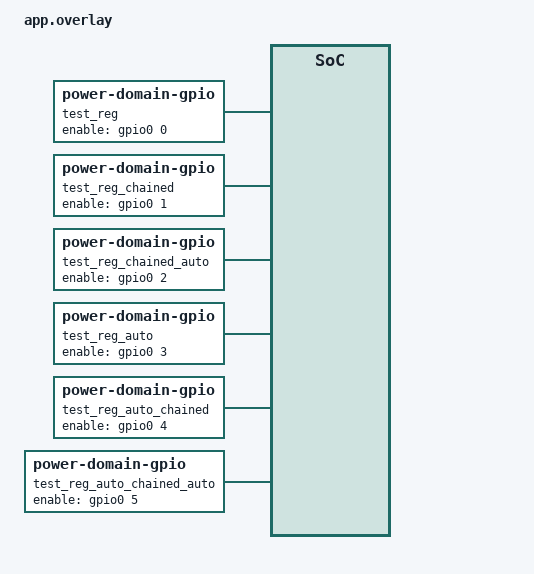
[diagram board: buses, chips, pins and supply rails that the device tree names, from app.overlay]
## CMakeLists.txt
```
# Copyright (c) 2023, CSIRO.
# SPDX-License-Identifier: Apache-2.0

cmake_minimum_required(VERSION 3.28.0)
find_package(Zephyr REQUIRED HINTS $ENV{ZEPHYR_BASE})
project(device_driver_init)

target_sources(app PRIVATE src/main.c)
```

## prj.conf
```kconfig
# Copyright (c) 2023, Commonwealth Scientific and Industrial Research
# Organisation (CSIRO) ABN 41 687 119 230.
CONFIG_ZTEST=y
CONFIG_MP_MAX_NUM_CPUS=1

CONFIG_GPIO=y
CONFIG_GPIO_GET_CONFIG=y
CONFIG_POWER_DOMAIN=y
CONFIG_DEVICE_DEINIT_SUPPORT=y
```

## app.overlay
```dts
/ {
	test_reg: test_reg {
		compatible = "power-domain-gpio";
		enable-gpios = <&gpio0 0 0>;
		#power-domain-cells = <0>;
	};

	test_reg_chained: test_reg_chained {
		compatible = "power-domain-gpio";
		enable-gpios = <&gpio0 1 0>;
		power-domains = <&test_reg>;
		#power-domain-cells = <0>;
	};

	test_reg_chained_auto: test_reg_chained_auto {
		compatible = "power-domain-gpio";
		enable-gpios = <&gpio0 2 0>;
		power-domains = <&test_reg>;
		#power-domain-cells = <0>;
		zephyr,pm-device-runtime-auto;
	};

	test_reg_auto: test_reg_auto {
		compatible = "power-domain-gpio";
		enable-gpios = <&gpio0 3 0>;
		#power-domain-cells = <0>;
		zephyr,pm-device-runtime-auto;
	};

	test_reg_auto_chained: test_reg_auto_chained {
		compatible = "power-domain-gpio";
		enable-gpios = <&gpio0 4 0>;
		#power-domain-cells = <0>;
		power-domains = <&test_reg_auto>;
	};

	test_reg_auto_chained_auto: test_reg_auto_chained_auto {
		compatible = "power-domain-gpio";
		enable-gpios = <&gpio0 5 0>;
		power-domains = <&test_reg_auto>;
		#power-domain-cells = <0>;
		zephyr,pm-device-runtime-auto;
	};

	test_reg_disabled: test_reg_disabled {
		compatible = "power-domain-gpio";
		enable-gpios = <&gpio0 6 0>;
		#power-domain-cells = <0>;
		status = "disabled";
	};
};
```

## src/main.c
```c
/*
 * Copyright (c) 2023, Commonwealth Scientific and Industrial Research
 * Organisation (CSIRO) ABN 41 687 119 230.
 *
 * SPDX-License-Identifier: Apache-2.0
 *
 * State checking in this test is done via the GPIO state instead of
 * the PM API as this test runs without the PM api enabled.
 */

#include <zephyr/ztest.h>
#include <zephyr/drivers/gpio.h>
#include <zephyr/pm/device.h>
#include <zephyr/pm/device_runtime.h>

#define POWER_GPIO_CONFIG_IS(node_id, config)\
	{\
		const struct gpio_dt_spec gpio = GPIO_DT_SPEC_GET(node_id, enable_gpios);\
		gpio_flags_t gpio_config; \
		int gpio_ret = gpio_pin_get_config_dt(&gpio, &gpio_config); \
		zassert_equal(gpio_ret, 0, "GPIO config retrieval failed"); \
		zassert_equal(gpio_config, config, "Unexpected config");\
	}

#define DEVICE_STATE_IS(node_id, value) \
	rc = pm_device_state_get(DEVICE_DT_GET(node_id), &state); \
	zassert_equal(rc, 0, "Device state retrieval failed"); \
	zassert_equal(state, value, "Unexpected device state");

ZTEST(device_driver_init, test_device_driver_init)
{
#if defined(CONFIG_PM_DEVICE_RUNTIME)
	enum pm_device_state state;
	int rc;
	state = -1;
	zassert_str_equal("", pm_device_state_str(state),
			  "Invalid device state");
	/* No device runtime PM, starts on */
	DEVICE_STATE_IS(DT_NODELABEL(test_reg), PM_DEVICE_STATE_ACTIVE);
	DEVICE_STATE_IS(DT_NODELABEL(test_reg_chained), PM_DEVICE_STATE_ACTIVE);
	POWER_GPIO_CONFIG_IS(DT_NODELABEL(test_reg), GPIO_OUTPUT_HIGH);
	POWER_GPIO_CONFIG_IS(DT_NODELABEL(test_reg_chained), GPIO_OUTPUT_HIGH);
	zassert_str_equal("active", pm_device_state_str(state),
			  "Invalid device state");
	/* Device powered, zephyr,pm-device-runtime-auto, starts suspended */
	DEVICE_STATE_IS(DT_NODELABEL(test_reg_chained_auto), PM_DEVICE_STATE_SUSPENDED);
	DEVICE_STATE_IS(DT_NODELABEL(test_reg_auto), PM_DEVICE_STATE_SUSPENDED);
	POWER_GPIO_CONFIG_IS(DT_NODELABEL(test_reg_chained_auto), GPIO_OUTPUT_LOW);
	POWER_GPIO_CONFIG_IS(DT_NODELABEL(test_reg_auto), GPIO_OUTPUT_LOW);
	zassert_str_equal("suspended", pm_device_state_str(state),
			  "Invalid device state");
	/* Device not powered, starts off */
	DEVICE_STATE_IS(DT_NODELABEL(test_reg_auto_chained), PM_DEVICE_STATE_OFF);
	DEVICE_STATE_IS(DT_NODELABEL(test_reg_auto_chained_auto), PM_DEVICE_STATE_OFF);
	POWER_GPIO_CONFIG_IS(DT_NODELABEL(test_reg_auto_chained), GPIO_DISCONNECTED);
	POWER_GPIO_CONFIG_IS(DT_NODELABEL(test_reg_auto_chained_auto), GPIO_DISCONNECTED);
	zassert_str_equal("off", pm_device_state_str(state),
			  "Invalid device state");
#else
	/* Every regulator should be in "active" mode automatically.
	 * State checking via GPIO as PM API is disabled.
	 */
	POWER_GPIO_CONFIG_IS(DT_NODELABEL(test_reg), GPIO_OUTPUT_HIGH);
	POWER_GPIO_CONFIG_IS(DT_NODELABEL(test_reg_chained), GPIO_OUTPUT_HIGH);
	POWER_GPIO_CONFIG_IS(DT_NODELABEL(test_reg_chained_auto), GPIO_OUTPUT_HIGH);
	POWER_GPIO_CONFIG_IS(DT_NODELABEL(test_reg_auto), GPIO_OUTPUT_HIGH);
	POWER_GPIO_CONFIG_IS(DT_NODELABEL(test_reg_auto_chained), GPIO_OUTPUT_HIGH);
	POWER_GPIO_CONFIG_IS(DT_NODELABEL(test_reg_auto_chained_auto), GPIO_OUTPUT_HIGH);
	POWER_GPIO_CONFIG_IS(DT_NODELABEL(test_reg_disabled), GPIO_DISCONNECTED);
#endif
}

struct pm_transition_test_dev_data {
	enum pm_device_state state_turn_on;
	enum pm_device_state state_resume;
	enum pm_device_state state_suspend;
	enum pm_device_state state_turn_off;
	bool state_other;
};

static int pm_transition_test_dev_pm_action(const struct device *dev, enum pm_device_action action)
{
	struct pm_transition_test_dev_data *data = dev->data;

	/* Preserve the observed internal state when actions ran */
	switch (action) {
	case PM_DEVICE_ACTION_TURN_ON:
		pm_device_state_get(dev, &data->state_turn_on);
		break;
	case PM_DEVICE_ACTION_RESUME:
		pm_device_state_get(dev, &data->state_resume);
		break;
	case PM_DEVICE_ACTION_SUSPEND:
		pm_device_state_get(dev, &data->state_suspend);
		break;
	case PM_DEVICE_ACTION_TURN_OFF:
		pm_device_state_get(dev, &data->state_turn_off);
		break;
	default:
		data->state_other = true;
	}
	return 0;
}

static int pm_transition_test_dev_init(const struct device *dev)
{
	struct pm_transition_test_dev_data *data = dev->data;

	data->state_turn_on = UINT8_MAX;
	data->state_resume = UINT8_MAX;
	data->state_suspend = UINT8_MAX;
	data->state_turn_off = UINT8_MAX;
	data->state_other = false;

	return pm_device_driver_init(dev, pm_transition_test_dev_pm_action);
}

static int pm_transition_test_dev_deinit(const struct device *dev)
{
	struct pm_transition_test_dev_data *data = dev->data;

	data->state_turn_on = UINT8_MAX;
	data->state_resume = UINT8_MAX;
	data->state_suspend = UINT8_MAX;
	data->state_turn_off = UINT8_MAX;
	data->state_other = false;

	return pm_device_driver_deinit(dev, pm_transition_test_dev_pm_action);
}

static struct pm_transition_test_dev_data dev_data;
PM_DEVICE_DEFINE(pm_transition_test_dev_pm, pm_transition_test_dev_pm_action);
DEVICE_DEINIT_DEFINE(pm_transition_test_dev, "test_dev",
	pm_transition_test_dev_init, pm_transition_test_dev_deinit,
	PM_DEVICE_GET(pm_transition_test_dev_pm), &dev_data, NULL,
	POST_KERNEL, 0, NULL);

/**
 * @brief Verify device PM actions during init and deinit.
 *
 * @details
 * The device PM callback records each action it receives together with the
 * device state at that point. The test checks the turn-on and resume actions
 * from initialization, that deinit is refused while the device is active,
 * that an explicit suspend transition succeeds, and that deinit then runs
 * without further PM actions.
 *
 * @see pm_device_action_run()
 *
 * @ingroup power_tests
 * @verifies ZEP-SRS-13-11
 */
ZTEST(device_driver_init, test_device_driver_init_pm_state)
{
#ifdef CONFIG_PM_DEVICE
	zassert_equal(PM_DEVICE_STATE_OFF, dev_data.state_turn_on);
	zassert_equal(PM_DEVICE_STATE_SUSPENDED, dev_data.state_resume);
	zassert_equal(UINT8_MAX, dev_data.state_suspend);
	zassert_equal(UINT8_MAX, dev_data.state_turn_off);
	zassert_false(dev_data.state_other);
#else
	/* pm_device_state_get always returns PM_DEVICE_STATE_ACTIVE */
	zassert_equal(PM_DEVICE_STATE_ACTIVE, dev_data.state_turn_on);
	zassert_equal(PM_DEVICE_STATE_ACTIVE, dev_data.state_resume);
	zassert_equal(UINT8_MAX, dev_data.state_suspend);
	zassert_equal(UINT8_MAX, dev_data.state_turn_off);
	zassert_false(dev_data.state_other);
#endif /* CONFIG_PM */

#ifdef CONFIG_PM_DEVICE
	/* device_deinit() blocked if device is not suspended or off */
	zassert_not_ok(device_deinit(DEVICE_GET(pm_transition_test_dev)));
	zassert_ok(pm_device_action_run(DEVICE_GET(pm_transition_test_dev),
					PM_DEVICE_ACTION_SUSPEND));
#endif

	zassert_ok(device_deinit(DEVICE_GET(pm_transition_test_dev)));

#ifdef CONFIG_PM_DEVICE
	/* no action called as device is already suspended or off */
	zassert_equal(UINT8_MAX, dev_data.state_turn_on);
	zassert_equal(UINT8_MAX, dev_data.state_resume);
	zassert_equal(UINT8_MAX, dev_data.state_suspend);
	zassert_equal(UINT8_MAX, dev_data.state_turn_off);
	zassert_false(dev_data.state_other);
#else
	/* pm_device_state_get always returns PM_DEVICE_STATE_ACTIVE */
	zassert_equal(UINT8_MAX, dev_data.state_turn_on);
	zassert_equal(UINT8_MAX, dev_data.state_resume);
	zassert_equal(PM_DEVICE_STATE_ACTIVE, dev_data.state_suspend);
	zassert_equal(UINT8_MAX, dev_data.state_turn_off);
	zassert_false(dev_data.state_other);
#endif /* CONFIG_PM */
}

ZTEST_SUITE(device_driver_init, NULL, NULL, NULL, NULL, NULL);
```
